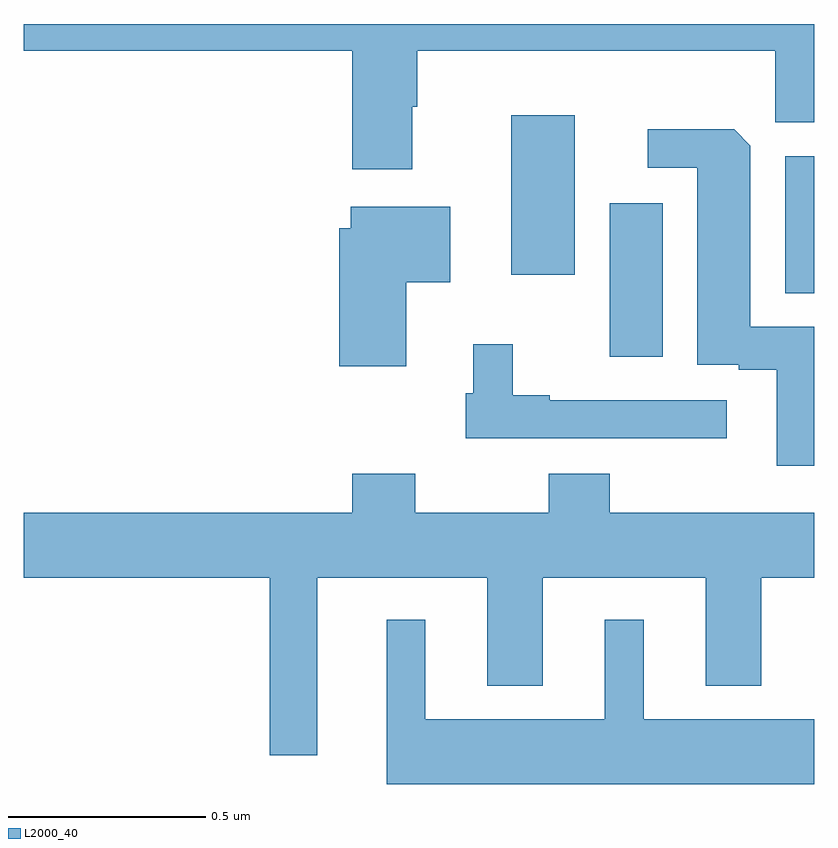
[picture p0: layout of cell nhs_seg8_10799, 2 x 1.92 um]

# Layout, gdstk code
import gdstk
lib = gdstk.Library(unit=1e-6, precision=1e-09)
def R(c, l, rs):  # rectangles x0, y0, x1, y1
    for r in rs: c.add(gdstk.rectangle(r[:2], r[2:], *l))
def P(c, l, *ps):  # polygons
    for p in ps: c.add(gdstk.Polygon(p, *l))
L2000_40 = (2000, 40)

nhs_seg8_10799 = lib.new_cell('nhs_seg8_10799')
R(nhs_seg8_10799, L2000_40, [(255.482,1117.058,255.616,1117.447), (255.926,1117.219,256,1117.566), (255.233,1117.266,255.394,1117.669)])
P(nhs_seg8_10799, L2000_40, [(254.983,1117.691),(254.996,1117.691),(254.996,1117.832),(255.901,1117.832),(255.901,1117.651),(256,1117.651),(256,1117.9),(254,1117.9),(254,1117.832),(254.831,1117.832),(254.831,1117.533),(254.983,1117.533)],
  [(256,1117.134),(255.838,1117.134),(255.838,1117.592),(255.797,1117.634),(255.579,1117.634),(255.579,1117.536),(255.704,1117.536),(255.704,1117.038),(255.809,1117.038),(255.809,1117.026),(255.905,1117.026),(255.905,1116.783),(256,1116.783)],
  [(254.968,1117.247),(255.079,1117.247),(255.079,1117.438),(254.828,1117.438),(254.828,1117.383),(254.798,1117.383),(254.798,1117.035),(254.968,1117.035)],
  [(255.778,1116.948),(255.331,1116.948),(255.331,1116.961),(255.237,1116.961),(255.237,1117.09),(255.137,1117.09),(255.137,1116.966),(255.118,1116.966),(255.118,1116.852),(255.778,1116.852)],
  [(254.743,1116.5),(255.173,1116.5),(255.173,1116.227),(255.313,1116.227),(255.313,1116.5),(255.725,1116.5),(255.725,1116.227),(255.865,1116.227),(255.865,1116.5),(256,1116.5),(256,1116.664),(255.483,1116.664),(255.483,1116.763),(255.328,1116.763),(255.328,1116.664),(254.991,1116.664),(254.991,1116.763),(254.831,1116.763),(254.831,1116.664),(254,1116.664),(254,1116.5),(254.622,1116.5),(254.622,1116.051),(254.743,1116.051)],
  [(256,1116.142),(255.568,1116.142),(255.568,1116.394),(255.47,1116.394),(255.47,1116.142),(255.016,1116.142),(255.016,1116.394),(254.918,1116.394),(254.918,1115.978),(256,1115.978)])

lib.write_gds('nhs_seg8_10799.gds')
